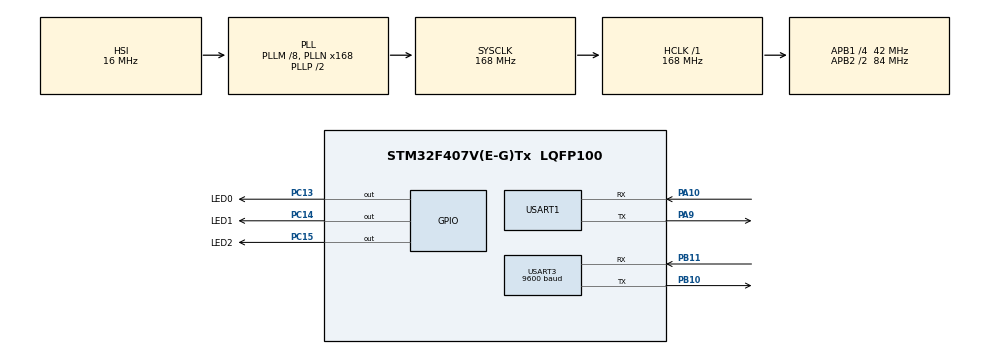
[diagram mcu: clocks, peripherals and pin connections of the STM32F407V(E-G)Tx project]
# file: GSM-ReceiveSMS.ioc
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Dma.Request0=USART1_TX
Dma.Request1=USART1_RX
Dma.Request2=USART3_RX
Dma.Request3=USART3_TX
Dma.USART1_RX.1.Direction=DMA_PERIPH_TO_MEMORY
Dma.USART1_RX.1.FIFOMode=DMA_FIFOMODE_DISABLE
Dma.USART1_RX.1.Instance=DMA2_Stream2
Dma.USART1_RX.1.MemDataAlignment=DMA_MDATAALIGN_BYTE
Dma.USART1_RX.1.MemInc=DMA_MINC_ENABLE
Dma.USART1_RX.1.Mode=DMA_NORMAL
Dma.USART1_RX.1.PeriphDataAlignment=DMA_PDATAALIGN_BYTE
Dma.USART1_RX.1.PeriphInc=DMA_PINC_DISABLE
Dma.USART1_RX.1.Priority=DMA_PRIORITY_LOW
Dma.USART1_TX.0.Direction=DMA_MEMORY_TO_PERIPH
Dma.USART1_TX.0.FIFOMode=DMA_FIFOMODE_DISABLE
Dma.USART1_TX.0.Instance=DMA2_Stream7
Dma.USART1_TX.0.MemDataAlignment=DMA_MDATAALIGN_BYTE
Dma.USART1_TX.0.MemInc=DMA_MINC_ENABLE
Dma.USART1_TX.0.Mode=DMA_NORMAL
Dma.USART1_TX.0.PeriphDataAlignment=DMA_PDATAALIGN_BYTE
Dma.USART1_TX.0.PeriphInc=DMA_PINC_DISABLE
Dma.USART1_TX.0.Priority=DMA_PRIORITY_LOW
Dma.USART3_RX.2.Direction=DMA_PERIPH_TO_MEMORY
Dma.USART3_RX.2.FIFOMode=DMA_FIFOMODE_DISABLE
Dma.USART3_RX.2.Instance=DMA1_Stream1
Dma.USART3_RX.2.MemDataAlignment=DMA_MDATAALIGN_BYTE
Dma.USART3_RX.2.MemInc=DMA_MINC_ENABLE
Dma.USART3_RX.2.Mode=DMA_NORMAL
Dma.USART3_RX.2.PeriphDataAlignment=DMA_PDATAALIGN_BYTE
Dma.USART3_RX.2.PeriphInc=DMA_PINC_DISABLE
Dma.USART3_RX.2.Priority=DMA_PRIORITY_LOW
Dma.USART3_TX.3.Direction=DMA_MEMORY_TO_PERIPH
Dma.USART3_TX.3.FIFOMode=DMA_FIFOMODE_DISABLE
Dma.USART3_TX.3.Instance=DMA1_Stream3
Dma.USART3_TX.3.MemDataAlignment=DMA_MDATAALIGN_BYTE
Dma.USART3_TX.3.MemInc=DMA_MINC_ENABLE
Dma.USART3_TX.3.Mode=DMA_NORMAL
Dma.USART3_TX.3.PeriphDataAlignment=DMA_PDATAALIGN_BYTE
Dma.USART3_TX.3.PeriphInc=DMA_PINC_DISABLE
Dma.USART3_TX.3.Priority=DMA_PRIORITY_LOW
Mcu.Family=STM32F4
Mcu.Name=STM32F407V(E-G)Tx
Mcu.Package=LQFP100
NVIC.DMA1_Stream1_IRQn=true\:0\:0\:false\:false\:true\:false\:true
NVIC.DMA1_Stream3_IRQn=true\:0\:0\:false\:false\:true\:false\:true
NVIC.DMA2_Stream2_IRQn=true\:0\:0\:false\:false\:true\:false\:true
NVIC.DMA2_Stream7_IRQn=true\:0\:0\:false\:false\:true\:false\:true
NVIC.PriorityGroup=NVIC_PRIORITYGROUP_4
NVIC.USART1_IRQn=true\:0\:0\:false\:false\:true\:true\:true
NVIC.USART3_IRQn=true\:0\:0\:false\:false\:true\:true\:true
PA10.Mode=Asynchronous
PA10.Signal=USART1_RX
PA9.Mode=Asynchronous
PA9.Signal=USART1_TX
PB10.Mode=Asynchronous
PB10.Signal=USART3_TX
PB11.Mode=Asynchronous
PB11.Signal=USART3_RX
PC13-ANTI_TAMP.GPIO_Label=LED0
PC13-ANTI_TAMP.Signal=GPIO_Output
PC14-OSC32_IN.GPIO_Label=LED1
PC14-OSC32_IN.Signal=GPIO_Output
PC15-OSC32_OUT.GPIO_Label=LED2
PC15-OSC32_OUT.Signal=GPIO_Output
ProjectManager.HeapSize=0x200
ProjectManager.StackSize=0x400
ProjectManager.TargetToolchain=MDK-ARM V5.27
RCC.48MHZClocksFreq_Value=84000000
RCC.AHBFreq_Value=168000000
RCC.APB1CLKDivider=RCC_HCLK_DIV4
RCC.APB1Freq_Value=42000000
RCC.APB1TimFreq_Value=84000000
RCC.APB2CLKDivider=RCC_HCLK_DIV2
RCC.APB2Freq_Value=84000000
RCC.APB2TimFreq_Value=168000000
RCC.CortexFreq_Value=168000000
RCC.HCLKFreq_Value=168000000
RCC.HSE_VALUE=25000000
RCC.HSI_VALUE=16000000
RCC.LSE_VALUE=32768
RCC.PLLM=8
RCC.PLLN=168
RCC.SYSCLKFreq_VALUE=168000000
RCC.SYSCLKSource=RCC_SYSCLKSOURCE_PLLCLK
RCC.VCOOutputFreq_Value=336000000
USART1.VirtualMode=VM_ASYNC
USART3.BaudRate=9600
USART3.VirtualMode=VM_ASYNC
board=custom

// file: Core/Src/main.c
/* USER CODE BEGIN Header */
/**
  ******************************************************************************
  * @file           : main.c
  * @brief          : Main program body
  ******************************************************************************
  * @attention
  *
  * <h2><center>&copy; Copyright (c) 2024 STMicroelectronics.
  * All rights reserved.</center></h2>
  *
  * This software component is licensed by ST under BSD 3-Clause license,
  * the "License"; You may not use this file except in compliance with the
  * License. You may obtain a copy of the License at:
  *                        opensource.org/licenses/BSD-3-Clause
  *
  ******************************************************************************
  */
/* USER CODE END Header */
#include "main.h"
#include "dma.h"
#include "usart.h"
#include "gpio.h"

/* USER CODE BEGIN Includes */
#include "CircularBuffer.h"
#include <stdio.h>
#include <string.h>
#include <stdarg.h>
/* USER CODE END Includes */

/* USER CODE BEGIN PTD */
typedef enum {
  GSM_State_Config,
  GSM_State_Idle,
} GSM_State;

typedef enum {
  GSM_ConfigState_AT,
  GSM_ConfigState_ATE0,
  GSM_ConfigState_CMGF,
  GSM_ConfigState_CSMP,
  GSM_ConfigState_CNMI,
} GSM_ConfigState;

typedef struct {
  UART_CircularBuffer*      Rx;
  UART_CircularBuffer*      Tx;
  GSM_State                 State;
  GSM_ConfigState           ConfigState;
  uint8_t                   WaitForSend     : 1;
  uint8_t                   WaitForData     : 1;
  uint8_t                   WaitForResult   : 1;
  uint8_t                   InSendCommand   : 1;
  uint8_t                   Reserved        : 4;
} GSM;

typedef struct {
  GPIO_TypeDef*             GPIO;
  uint16_t                  Pin;
} Led_PinConfig;

/* USER CODE END PTD */

/* USER CODE BEGIN PD */
#define LED_CONFIGS_LEN       3
/* USER CODE END PD */

/* USER CODE BEGIN PV */
static const Led_PinConfig LED_CONFIGS[LED_CONFIGS_LEN] = {
  { LED0_GPIO_Port, LED0_Pin },
  { LED1_GPIO_Port, LED1_Pin },
  { LED2_GPIO_Port, LED2_Pin },
};

static char CRLF[2]        = "\r\n";
static char AT[]           = "AT";
static char AT_CME_ERROR[] = "+CME ERROR:";
static char AT_CMS_ERROR[] = "+CMS ERROR:";
static char AT_OK[]        = "OK";
static char AT_ERROR[]     = "ERROR";
static char AT_CMT[]       = "+CMT:";

static UART_CircularBuffer uart1Tx = {0};
static uint8_t uart1TxBuf[512];

static UART_CircularBuffer uart3Tx = {0};
static uint8_t uart3TxBuf[512];
static UART_CircularBuffer uart3Rx = {0};
static uint8_t uart3RxBuf[512];

static GSM gsm = {0};

static char phone[17] = {0};
static char message[150] = {0};

/* USER CODE END PV */

void SystemClock_Config(void);
/* USER CODE BEGIN PFP */
void GSM_init(GSM* gsm, UART_CircularBuffer* tx, UART_CircularBuffer* rx);
void GSM_process(GSM* gsm);

void smsProcess(void);

void GSM_sendStr(GSM* gsm, const char* str);
void GSM_sendFmt(GSM* gsm, const char* fmt, ...);

char* Str_ignoreWhitespace(char* str);
char* Str_indexOfAt(char* str, char c, int16_t num);
char* Str_getToken(char* str, char* out, char c, int16_t num);
uint32_t Str_getUNum(char* str, int16_t* len);

/* USER CODE END PFP */

int main(void)
{

  /* MCU Configuration--------------------------------------------------------*/

  /* Reset of all peripherals, Initializes the Flash interface and the Systick. */
  HAL_Init();

  /* Configure the system clock */
  SystemClock_Config();

  /* Initialize all configured peripherals */
  MX_GPIO_Init();
  MX_DMA_Init();
  MX_USART1_UART_Init();
  MX_USART3_UART_Init();
  /* USER CODE BEGIN 2 */
  UART_CircularBuffer_init(&uart1Tx, &huart1, uart1TxBuf, sizeof(uart1TxBuf));
  UART_CircularBuffer_init(&uart3Tx, &huart3, uart3TxBuf, sizeof(uart3TxBuf));
  UART_CircularBuffer_init(&uart3Rx, &huart3, uart3RxBuf, sizeof(uart3RxBuf));
  UART_CircularBuffer_receive(&uart3Rx);
  /* USER CODE END 2 */

  /* Infinite loop */
  /* USER CODE BEGIN WHILE */
  GSM_init(&gsm, &uart3Tx, &uart3Rx);

  while (1)
  {
    GSM_process(&gsm);
    smsProcess();
    /* USER CODE END WHILE */

  }
}

void SystemClock_Config(void)
{
  RCC_OscInitTypeDef RCC_OscInitStruct = {0};
  RCC_ClkInitTypeDef RCC_ClkInitStruct = {0};

  /** Configure the main internal regulator output voltage
  */
  __HAL_RCC_PWR_CLK_ENABLE();
  __HAL_PWR_VOLTAGESCALING_CONFIG(PWR_REGULATOR_VOLTAGE_SCALE1);
  /** Initializes the RCC Oscillators according to the specified parameters
  * in the RCC_OscInitTypeDef structure.
  */
  RCC_OscInitStruct.OscillatorType = RCC_OSCILLATORTYPE_HSI;
  RCC_OscInitStruct.HSIState = RCC_HSI_ON;
  RCC_OscInitStruct.HSICalibrationValue = RCC_HSICALIBRATION_DEFAULT;
  RCC_OscInitStruct.PLL.PLLState = RCC_PLL_ON;
  RCC_OscInitStruct.PLL.PLLSource = RCC_PLLSOURCE_HSI;
  RCC_OscInitStruct.PLL.PLLM = 8;
  RCC_OscInitStruct.PLL.PLLN = 168;
  RCC_OscInitStruct.PLL.PLLP = RCC_PLLP_DIV2;
  RCC_OscInitStruct.PLL.PLLQ = 4;
  if (HAL_RCC_OscConfig(&RCC_OscInitStruct) != HAL_OK)
  {
    Error_Handler();
  }
  /** Initializes the CPU, AHB and APB buses clocks
  */
  RCC_ClkInitStruct.ClockType = RCC_CLOCKTYPE_HCLK|RCC_CLOCKTYPE_SYSCLK
                              |RCC_CLOCKTYPE_PCLK1|RCC_CLOCKTYPE_PCLK2;
  RCC_ClkInitStruct.SYSCLKSource = RCC_SYSCLKSOURCE_PLLCLK;
  RCC_ClkInitStruct.AHBCLKDivider = RCC_SYSCLK_DIV1;
  RCC_ClkInitStruct.APB1CLKDivider = RCC_HCLK_DIV4;
  RCC_ClkInitStruct.APB2CLKDivider = RCC_HCLK_DIV2;

  if (HAL_RCC_ClockConfig(&RCC_ClkInitStruct, FLASH_LATENCY_5) != HAL_OK)
  {
    Error_Handler();
  }
}

/* USER CODE BEGIN 4 */
void smsProcess(void) {
  if (message[0] != '\0') {
    // Process
    printf("\r\nPhone: %s\r\nMessage: %s\r\n", phone, message);
    // Process LED command
    // LED=<num>,<state>
    char* msg = Str_ignoreWhitespace(message);

    if (strncmp(msg, "LED", 3) == 0) {
      msg = msg + 3;
      if (*msg == '=') {
        msg++;
        int16_t len;
        uint8_t num;
        uint8_t state;

        num = Str_getUNum(msg, &len);
        msg += len + 1;
        state = Str_getUNum(msg, NULL);

        printf("Led Command: %u,%u\r\n", num, state);

        if (num < LED_CONFIGS_LEN) {
          HAL_GPIO_WritePin(LED_CONFIGS[num].GPIO, LED_CONFIGS[num].Pin, !state);
        }
      }
    }

    // End
    message[0] = '\0';
  }
}

void GSM_init(GSM* gsm, UART_CircularBuffer* tx, UART_CircularBuffer* rx) {
  gsm->State = GSM_State_Config;
  gsm->ConfigState = GSM_ConfigState_AT;
  gsm->Tx = tx;
  gsm->Rx = rx;
  gsm->WaitForData = 0;
  gsm->WaitForResult = 0;
  gsm->WaitForSend = 0;
}
void GSM_process(GSM* gsm) {
  if (gsm->State == GSM_State_Config && gsm->InSendCommand == 0) {
    switch (gsm->ConfigState) {
      case GSM_ConfigState_AT:
        GSM_sendStr(gsm, "AT\r\n");
        puts("Send AT\r");
        gsm->InSendCommand = 1;
        gsm->WaitForResult = 1;
        break;
      case GSM_ConfigState_ATE0:
        GSM_sendStr(gsm, "ATE0\r\n");
        puts("Send Echo Off\r");
        gsm->InSendCommand = 1;
        gsm->WaitForResult = 1;
        break;
      case GSM_ConfigState_CMGF:
        GSM_sendStr(gsm, "AT+CMGF=1\r\n");
        puts("Send Text Mode\r");
        gsm->InSendCommand = 1;
        gsm->WaitForResult = 1;
        break;
      case GSM_ConfigState_CSMP:
        GSM_sendStr(gsm, "AT+CSMP=17,167,0,0\r\n");
        puts("Send Text Config\r");
        gsm->InSendCommand = 1;
        gsm->WaitForResult = 1;
        break;
      case GSM_ConfigState_CNMI:
        GSM_sendStr(gsm, "AT+CNMI=2,2\r\n");
        puts("Send Sms Config\r");
        gsm->InSendCommand = 1;
        gsm->WaitForResult = 1;
        break;
    }
  }

  int16_t len = UART_CircularBuffer_available(gsm->Rx);
  if (len > 0) {
    if (gsm->WaitForSend) {
      // Send Data Part
    }
    else {
      // Read Line
      int16_t len = UART_CircularBuffer_findPat(gsm->Rx, (uint8_t*) CRLF, sizeof(CRLF));
      if (len >= 0) {
        char buf[180];
        len += 2;
        UART_CircularBuffer_readBytes(gsm->Rx, (uint8_t*) buf, len);
        buf[len] = '\0';
        if (gsm->WaitForData) {
          // Process Notification with Param, Ex: CMT
          strcpy(message, buf);
          // End
          gsm->WaitForData = 0;
        }
        else {
          char* line = buf;
          // Ignore Left side of string
          line = Str_ignoreWhitespace(line);
          if (strncmp(line, AT, sizeof(AT) - 1) != 0) {
            // Process Result
            if (gsm->WaitForResult) {
              if (strncmp(line, AT_OK, sizeof(AT_OK) - 1) == 0) {
                // Result Ok
                if (gsm->State == GSM_State_Config) {
                  gsm->InSendCommand = 0;
                  gsm->WaitForResult = 0;
                  switch (gsm->ConfigState) {
                    case GSM_ConfigState_AT:
                      gsm->ConfigState = GSM_ConfigState_ATE0;
                      break;
                    case GSM_ConfigState_ATE0:
                      gsm->ConfigState = GSM_ConfigState_CMGF;
                      break;
                    case GSM_ConfigState_CMGF:
                      gsm->ConfigState = GSM_ConfigState_CSMP;
                      break;
                    case GSM_ConfigState_CSMP:
                      gsm->ConfigState = GSM_ConfigState_CNMI;
                      break;
                    case GSM_ConfigState_CNMI:
                      gsm->ConfigState = GSM_ConfigState_AT;
                      gsm->State = GSM_State_Idle;
                      break;
                  }
                }
                else {

                }
              }
              else if (strncmp(line, AT_ERROR, sizeof(AT_ERROR) - 1) == 0) {
                // Result Error
                if (gsm->State == GSM_State_Config) {
                  gsm->InSendCommand = 0;
                  gsm->WaitForResult = 0;
                }
                else {

                }
              }
              else if (strncmp(line, AT_CME_ERROR, sizeof(AT_CME_ERROR) - 1) == 0) {
                // CME Error
              }
              else if (strncmp(line, AT_CMS_ERROR, sizeof(AT_CMS_ERROR) - 1) == 0) {
                // CMS Error
              }
              else {
                if (line[0] == '+') {
                  // URC

                }
                else {
                  // Fixed Strings

                }
              }
            }
            else {
              // Process URCs
              if (line[0] == '+') {
                // URC
                if (strncmp(line, AT_CMT, sizeof(AT_CMT) - 1) == 0) {
                  puts("CMT Received\n");
                  // Process Phone
                  Str_getToken(line, phone, '"', 1);
                  // Wait for another part
                  gsm->WaitForData = 1;
                }
              }
              else {
                // Fixed Strings

              }
            }
          }
          else {
            // Echo On

          }
        }
      }
      else {
        // Empty Line
      }
    }
  }
}

void GSM_sendStr(GSM* gsm, const char* str) {
  UART_CircularBuffer_writeBytes(gsm->Tx, (uint8_t*) str, strlen(str));
  UART_CircularBuffer_transmit(gsm->Tx);
}
void GSM_sendFmt(GSM* gsm, const char* fmt, ...) {
  char buf[256];

  va_list args;
  va_start(args, fmt);
  uint32_t len = vsnprintf(buf, sizeof(buf) - 1, fmt, args);
  va_end(args);

  UART_CircularBuffer_writeBytes(gsm->Tx, (uint8_t*) buf, len);
  UART_CircularBuffer_transmit(gsm->Tx);
}

char* Str_ignoreWhitespace(char* str) {
  while (*str != '\0' && *str <= ' ') {
    str++;
  }
  return str;
}
char* Str_indexOfAt(char* str, char c, int16_t num) {
  if (*str == c) {
    num--;
  }

  while (str != NULL && num-- > 0) {
    str = strchr(str + 1, c);
  }

  return str;
}
char* Str_getToken(char* str, char* out, char c, int16_t num) {
  char* start = Str_indexOfAt(str, c, num);

  if (start) {
    char* end = strchr(++start, c);
    if (end == NULL) {
      end = memchr(start, '\0', 256);
    }
    int32_t len = (int32_t)(end - start);
    strncpy(out, start, len);
    out[len] = '\0';
    return out;
  }

  return NULL;
}

uint32_t Str_getUNum(char* str, int16_t* len) {
  uint32_t z = 0;
  char* start = str;

  while (*str != '\0') {
    if (*str > '9' || *str < '0') {
      break;
    }

    z = (z * 10) + (*str++ - '0');
  }

  if (len) {
    *len = (int16_t)(str - start);
  }

  return z;
}

void HAL_UART_TxCpltCallback(UART_HandleTypeDef* huart) {
  switch ((uint32_t) huart->Instance) {
    case USART1_BASE:
      UART_CircularBuffer_handleTx(&uart1Tx);
      break;
    case USART3_BASE:
      UART_CircularBuffer_handleTx(&uart3Tx);
      break;
  }
}

void HAL_UART_RxCpltCallback(UART_HandleTypeDef* huart) {
  switch ((uint32_t) huart->Instance) {
    case USART1_BASE:

      break;
    case USART3_BASE:
      UART_CircularBuffer_handleRx(&uart3Rx);
      break;
  }
}

void HAL_UART_ErrorCallback(UART_HandleTypeDef* huart) {
  switch ((uint32_t) huart->Instance) {
    case USART1_BASE:
      UART_CircularBuffer_resetIO(&uart1Tx);
      break;
    case USART3_BASE:
      UART_CircularBuffer_resetIO(&uart3Rx);
      UART_CircularBuffer_resetIO(&uart3Tx);
      UART_CircularBuffer_receive(&uart3Rx);
      break;
  }
}
// Override fputc
int fputc(int c, FILE* f) {
  UART_CircularBuffer_writeBytes(&uart1Tx, (uint8_t*) &c, 1);
  UART_CircularBuffer_transmit(&uart1Tx);
  return 0;
}

/* USER CODE END 4 */

void Error_Handler(void)
{
  __disable_irq();
  while (1)
  {
  }
}

/************************ (C) COPYRIGHT STMicroelectronics *****END OF FILE****/
